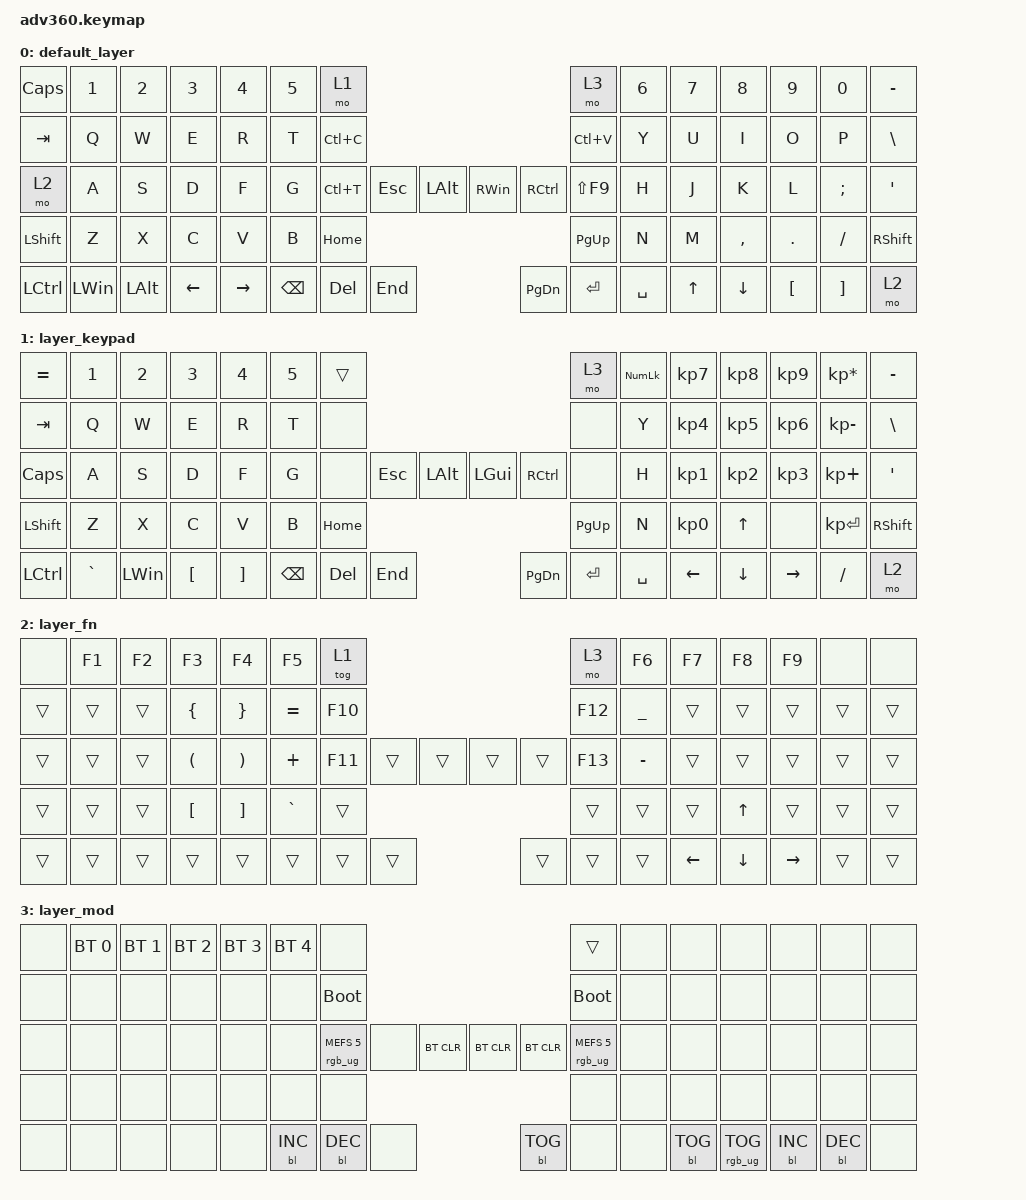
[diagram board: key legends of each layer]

/*
 * Copyright (c) 2020 The ZMK Contributors
 *
 * SPDX-License-Identifier: MIT
 */


/* THIS FILE WAS GENERATED!
 *
 * This file was generated automatically. You may or may not want to
 * edit it directly.
 */

#include <behaviors.dtsi>
#include <dt-bindings/zmk/keys.h>
#include <dt-bindings/zmk/bt.h>
#include <dt-bindings/zmk/rgb.h>
#include <dt-bindings/zmk/backlight.h>

/ {
  behaviors {
    #include "macros.dtsi"

    hm: homerow_mods {
        compatible = "zmk,behavior-hold-tap";
        label = "HOMEROW_MODS";
        #binding-cells = <2>;
        tapping-term-ms = <200>;
        quick_tap_ms = <175>;
        flavor = "tap-preferred";
        bindings = <&kp>, <&kp>;
    };
  };

    keymap {
        compatible = "zmk,keymap";


        default_layer {
            bindings = <
  &kp CAPS    &kp N1        &kp N2          &kp N3           &kp N4  &kp N5                    &mo 1                                                                       &mo 3  &kp N6        &kp N7     &kp N8            &kp N9             &kp N0   &kp MINUS
   &kp TAB     &kp Q         &kp W           &kp E            &kp R   &kp T                &kp LC(C)                                                                   &kp LC(V)   &kp Y         &kp U      &kp I             &kp O              &kp P    &kp BSLH
     &mo 2     &kp A         &kp S           &kp D            &kp F   &kp G                &kp LC(T)     &kp ESC  &kp LALT                  &kp RIGHT_WIN  &kp RCTRL  &kp LS(F9)   &kp H         &kp J      &kp K             &kp L           &kp SEMI     &kp SQT
 &kp LSHFT     &kp Z         &kp X           &kp C            &kp V   &kp B                                       &kp HOME                      &kp PG_UP                          &kp N         &kp M  &kp COMMA        &kp PERIOD          &kp SLASH  &kp RSHIFT
 &kp LCTRL  &kp LWIN  &kp LEFT_ALT  &kp LEFT_ARROW  &kp RIGHT_ARROW                    &kp BACKSPACE  &kp DELETE   &kp END                      &kp PG_DN  &kp ENTER   &kp SPACE          &kp UP_ARROW   &kp DOWN  &kp LEFT_BRACKET  &kp RIGHT_BRACKET       &mo 2
            >;
        };

        layer_keypad {
            bindings = <
        &kp EQUAL     &kp N1    &kp N2            &kp N3             &kp N4  &kp N5                   &trans                                                                  &mo 3  &kp KP_NUM  &kp KP_NUMBER_7        &kp KP_N8        &kp KP_N9  &kp KP_MULTIPLY  &kp MINUS
          &kp TAB      &kp Q     &kp W             &kp E              &kp R   &kp T                    &none                                                                  &none       &kp Y        &kp KP_N4        &kp KP_N5  &kp KP_NUMBER_6     &kp KP_MINUS   &kp BSLH
         &kp CAPS      &kp A     &kp S             &kp D              &kp F   &kp G                    &none  &kp ESCAPE  &kp LALT                   &kp LGUI  &kp RCTRL      &none       &kp H        &kp KP_N1  &kp KP_NUMBER_2        &kp KP_N3      &kp KP_PLUS    &kp SQT
        &kp LSHFT      &kp Z     &kp X             &kp C              &kp V   &kp B                                       &kp HOME                  &kp PG_UP                             &kp N        &kp KP_N0     &kp UP_ARROW            &none     &kp KP_ENTER  &kp RSHFT
 &kp LEFT_CONTROL  &kp GRAVE  &kp LWIN  &kp LEFT_BRACKET  &kp RIGHT_BRACKET                    &kp BACKSPACE  &kp DELETE   &kp END                  &kp PG_DN  &kp ENTER  &kp SPACE                     &kp LEFT         &kp DOWN  &kp RIGHT_ARROW        &kp SLASH      &mo 2
            >;
        };

        layer_fn {
            bindings = <
  &none  &kp F1  &kp F2                &kp F3                 &kp F4     &kp F5             &tog 1                                                    &mo 3          &kp F6          &kp F7          &kp F8           &kp F9   &none   &none
 &trans  &trans  &trans        &kp LEFT_BRACE        &kp RIGHT_BRACE  &kp EQUAL            &kp F10                                                  &kp F12  &kp UNDERSCORE          &trans          &trans           &trans  &trans  &trans
 &trans  &trans  &trans  &kp LEFT_PARENTHESIS  &kp RIGHT_PARENTHESIS   &kp PLUS            &kp F11  &trans  &trans                  &trans  &trans  &kp F13       &kp MINUS          &trans          &trans           &trans  &trans  &trans
 &trans  &trans  &trans      &kp LEFT_BRACKET      &kp RIGHT_BRACKET  &kp GRAVE                             &trans                  &trans                           &trans          &trans    &kp UP_ARROW           &trans  &trans  &trans
 &trans  &trans  &trans                &trans                 &trans                        &trans  &trans  &trans                  &trans  &trans   &trans                  &kp LEFT_ARROW  &kp DOWN_ARROW  &kp RIGHT_ARROW  &trans  &trans
            >;
        };

        layer_mod {
            bindings = <
  &none  &bt BT_SEL 0  &bt BT_SEL 1  &bt BT_SEL 2  &bt BT_SEL 3  &bt BT_SEL 4                             &none                                                                                  &trans   &none       &none            &none       &none       &none   &none
  &none         &none         &none         &none         &none         &none                       &bootloader                                                                             &bootloader   &none       &none            &none       &none       &none   &none
  &none         &none         &none         &none         &none         &none            &rgb_ug RGB_MEFS_CMD 5       &none  &bt BT_CLR                  &bt BT_CLR  &bt BT_CLR  &rgb_ug RGB_MEFS_CMD 5   &none       &none            &none       &none       &none   &none
  &none         &none         &none         &none         &none         &none                                                     &none                       &none                                       &none       &none            &none       &none       &none   &none
  &none         &none         &none         &none         &none                                      &bl BL_INC  &bl BL_DEC       &none                  &bl BL_TOG       &none                   &none          &bl BL_TOG  &rgb_ug RGB_TOG  &bl BL_INC  &bl BL_DEC   &none
            >;
        };

    };
};
